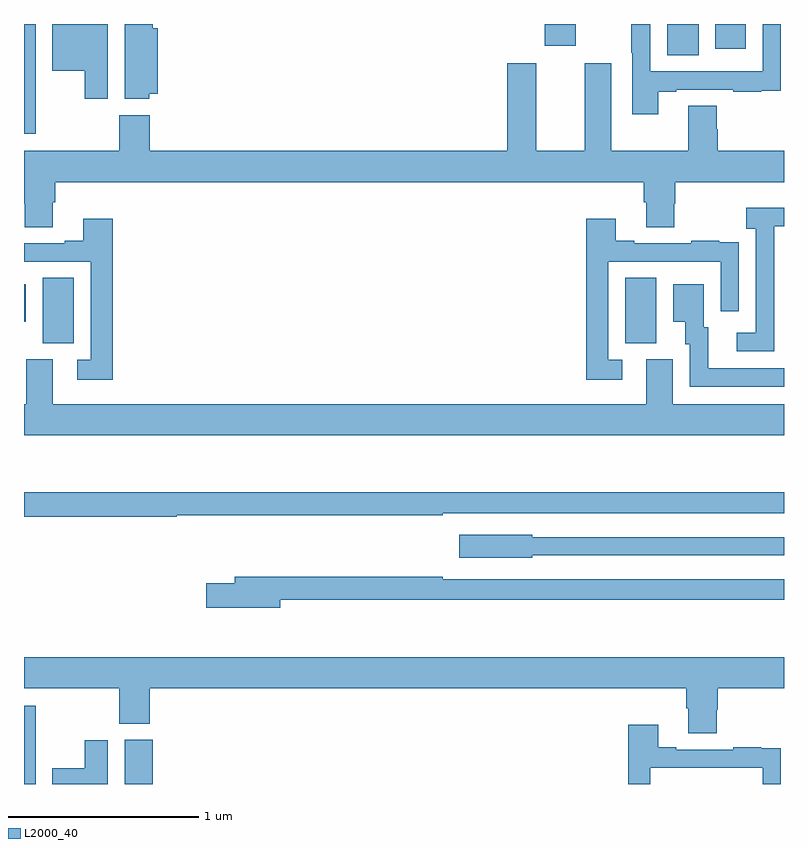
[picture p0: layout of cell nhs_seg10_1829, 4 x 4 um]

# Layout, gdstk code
import gdstk
lib = gdstk.Library(unit=1e-6, precision=1e-09)
def R(c, l, rs):  # rectangles x0, y0, x1, y1
    for r in rs: c.add(gdstk.rectangle(r[:2], r[2:], *l))
def P(c, l, *ps):  # polygons
    for p in ps: c.add(gdstk.Polygon(p, *l))
L2000_40 = (2000, 40)

nhs_seg10_1829 = lib.new_cell('nhs_seg10_1829')
R(nhs_seg10_1829, L2000_40, [(207,1278.5,207.061,1278.913), (207.53,1278.5,207.677,1278.732), (207.098,1280.821,207.262,1281.164), (210.164,1280.821,210.328,1281.164), (207,1280.933,207.01,1281.13), (207,1281.923,207.061,1282.5), (210.386,1282.336,210.55,1282.5), (210.638,1282.371,210.799,1282.5), (209.741,1282.386,209.905,1282.5)])
P(nhs_seg10_1829, L2000_40, [(207.66,1282.133),(207.703,1282.133),(207.703,1282.477),(207.677,1282.477),(207.677,1282.5),(207.53,1282.5),(207.53,1282.106),(207.66,1282.106)],
  [(210.337,1282.143),(210.433,1282.143),(210.433,1282.155),(210.733,1282.155),(210.733,1282.143),(210.881,1282.143),(210.881,1282.149),(210.983,1282.149),(210.983,1282.258),(210.984,1282.258),(210.984,1282.5),(210.888,1282.5),(210.888,1282.251),(210.297,1282.251),(210.297,1282.5),(210.196,1282.5),(210.196,1282.348),(210.201,1282.348),(210.201,1282.026),(210.337,1282.026)],
  [(207.442,1282.5),(207.149,1282.5),(207.149,1282.253),(207.32,1282.253),(207.32,1282.107),(207.442,1282.107)],
  [(207.151,1281.562),(207.164,1281.562),(207.164,1281.668),(210.263,1281.668),(210.263,1281.562),(210.275,1281.562),(210.275,1281.43),(210.423,1281.43),(210.423,1281.555),(210.428,1281.555),(210.428,1281.668),(211,1281.668),(211,1281.832),(210.65,1281.832),(210.65,1281.945),(210.645,1281.945),(210.645,1282.07),(210.497,1282.07),(210.497,1281.832),(210.091,1281.832),(210.091,1282.294),(209.951,1282.294),(209.951,1281.832),(209.695,1281.832),(209.695,1282.294),(209.543,1282.294),(209.543,1281.832),(207.662,1281.832),(207.662,1282.021),(207.502,1282.021),(207.502,1281.832),(207,1281.832),(207,1281.555),(207.004,1281.555),(207.004,1281.43),(207.151,1281.43)],
  [(210.948,1281.235),(210.949,1281.235),(210.949,1281.435),(211,1281.435),(211,1281.532),(210.801,1281.532),(210.801,1281.422),(210.852,1281.422),(210.852,1280.874),(210.75,1280.874),(210.75,1280.778),(210.948,1280.778)],
  [(210.148,1280.733),(210.075,1280.733),(210.075,1281.249),(210.666,1281.249),(210.666,1280.988),(210.762,1280.988),(210.762,1281.242),(210.761,1281.242),(210.761,1281.351),(210.659,1281.351),(210.659,1281.358),(210.511,1281.358),(210.511,1281.345),(210.211,1281.345),(210.211,1281.358),(210.115,1281.358),(210.115,1281.475),(209.959,1281.475),(209.959,1280.628),(210.148,1280.628)],
  [(207.467,1281.475),(207.311,1281.475),(207.311,1281.358),(207.215,1281.358),(207.215,1281.345),(207,1281.345),(207,1281.249),(207.351,1281.249),(207.351,1280.733),(207.279,1280.733),(207.279,1280.628),(207.467,1280.628)],
  [(211,1280.688),(210.601,1280.688),(210.601,1280.904),(210.577,1280.904),(210.577,1281.13),(210.416,1281.13),(210.416,1280.933),(210.479,1280.933),(210.479,1280.814),(210.504,1280.814),(210.504,1280.592),(211,1280.592)],
  [(211,1280.5),(210.415,1280.5),(210.415,1280.736),(210.275,1280.736),(210.275,1280.5),(207.151,1280.5),(207.151,1280.736),(207.011,1280.736),(207.011,1280.5),(207,1280.5),(207,1280.336),(211,1280.336)],
  [(207.803,1279.914),(209.204,1279.914),(209.204,1279.926),(211,1279.926),(211,1280.035),(207,1280.035),(207,1279.906),(207.803,1279.906)],
  [(209.676,1279.704),(211,1279.704),(211,1279.8),(209.676,1279.8),(209.676,1279.813),(209.292,1279.813),(209.292,1279.691),(209.676,1279.691)],
  [(208.348,1279.47),(211,1279.47),(211,1279.578),(209.204,1279.578),(209.204,1279.591),(208.109,1279.591),(208.109,1279.557),(207.96,1279.557),(207.96,1279.427),(208.348,1279.427)],
  [(210.645,1278.891),(210.65,1278.891),(210.65,1279.004),(211,1279.004),(211,1279.168),(207,1279.168),(207,1279.004),(207.502,1279.004),(207.502,1278.817),(207.662,1278.817),(207.662,1279.004),(210.485,1279.004),(210.485,1278.898),(210.497,1278.898),(210.497,1278.766),(210.645,1278.766)],
  [(210.297,1278.585),(210.888,1278.585),(210.888,1278.5),(210.984,1278.5),(210.984,1278.578),(210.983,1278.578),(210.983,1278.687),(210.881,1278.687),(210.881,1278.694),(210.733,1278.694),(210.733,1278.681),(210.433,1278.681),(210.433,1278.694),(210.337,1278.694),(210.337,1278.811),(210.181,1278.811),(210.181,1278.5),(210.297,1278.5)],
  [(207.442,1278.73),(207.32,1278.73),(207.32,1278.583),(207.149,1278.583),(207.149,1278.5),(207.442,1278.5)])

lib.write_gds('nhs_seg10_1829.gds')
